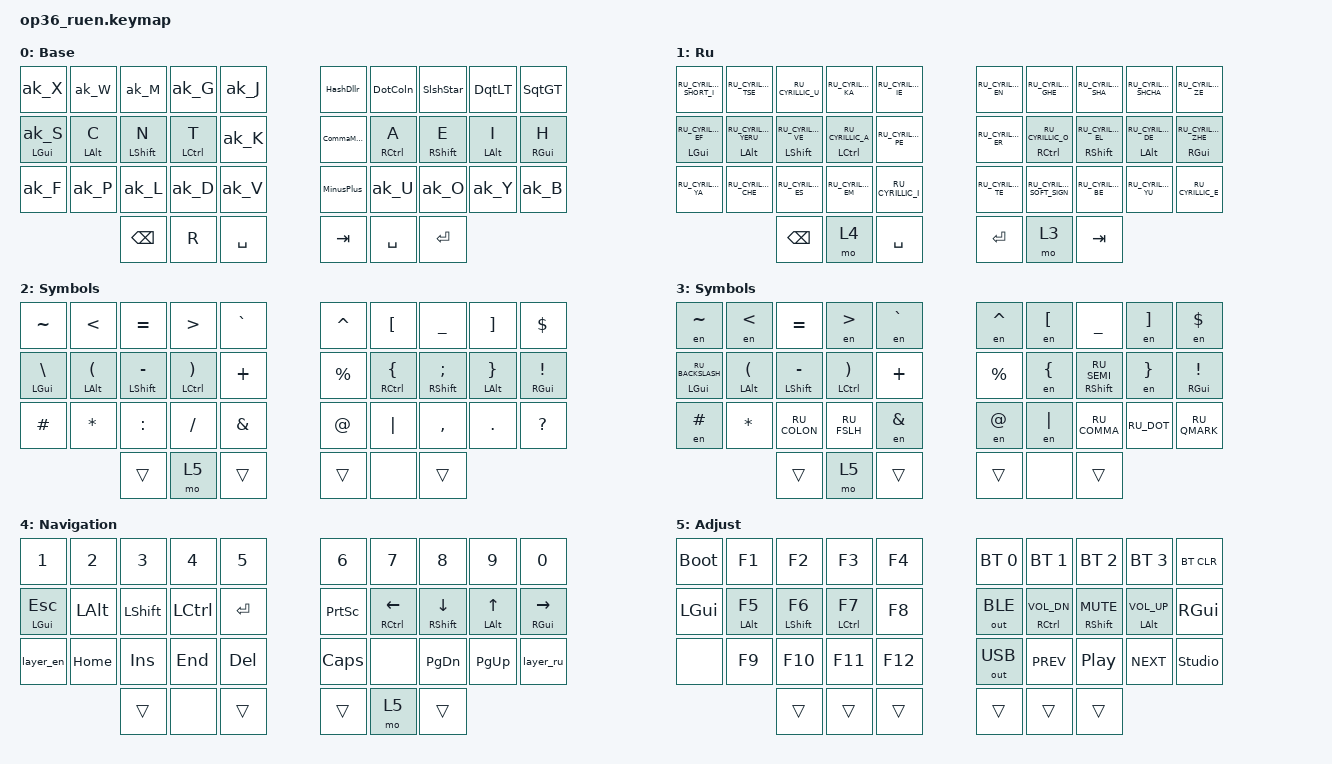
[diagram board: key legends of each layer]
#include "keys_ru.h"
#include "keys_ru.h"
#include <behaviors.dtsi>
#include <dt-bindings/zmk/bt.h>
#include <dt-bindings/zmk/keys.h>
#include <dt-bindings/zmk/outputs.h>

&mt {
    quick-tap-ms = <200>;
    flavor = "tap-preferred";
    require-prior-idle-ms = <125>;
};

/ {
    behaviors {
        /*
 * vf-adapt.h
 *
 * SPDX-License-Identifier: MIT
 *
 * AdaptiveKey behaviors
 * (send a different behavior based on prior key)
 *
 * these are dependant on the underlying alpha layout
 *
 * using urob's behavior-adaptive-key module (https://github.com/urob/zmk-adaptive-key/)
 */
 
        ak_A: ak_A {
            compatible = "zmk,behavior-adaptive-key";
            #binding-cells = <0>;
            bindings = <&kp A>;

            akA_Cap { trigger-keys = <CMMA>; max-prior-idle-ms = <my_cc_term>; bindings = <&kp BSPC &kp LS(A)>; strict-modifiers; };
        };
        ak_B: ak_B {
            compatible = "zmk,behavior-adaptive-key";
            #binding-cells = <0>;
            bindings = <&kp B>;

            akB_Cap { trigger-keys = <CMMA>; max-prior-idle-ms = <my_cc_term>; bindings = <&kp BSPC &kp LS(B)>; strict-modifiers; };
        };
        ak_C: ak_C {
            compatible = "zmk,behavior-adaptive-key";
            #binding-cells = <0>;
            bindings = <&kp C>;

            akC_Cap { trigger-keys = <CMMA>; max-prior-idle-ms = <my_cc_term>; bindings = <&kp BSPC &kp LS(C)>; strict-modifiers; };
            akC_t_ch { trigger-keys = <T>; max-prior-idle-ms = <my_ak_term>; bindings = <&kp C &kp H>; };
        };
        ak_D: ak_D {
            compatible = "zmk,behavior-adaptive-key";
            #binding-cells = <0>;
            bindings = <&kp D>;

            akD_Cap { trigger-keys = <CMMA>; max-prior-idle-ms = <my_cc_term>; bindings = <&kp BSPC &kp LS(D)>; strict-modifiers; };
            akD_t_l { trigger-keys = <V>; max-prior-idle-ms = <my_ak_term>; bindings = <&kp L>; };
        };
        ak_E: ak_E {
            compatible = "zmk,behavior-adaptive-key";
            #binding-cells = <0>;
            bindings = <&kp E>;

            akE_Cap { trigger-keys = <CMMA>; max-prior-idle-ms = <my_cc_term>; bindings = <&kp BSPC &kp LS(E)>; strict-modifiers; };
            akE_t_u { trigger-keys = <A>; max-prior-idle-ms = <my_ak_term>; bindings = <&kp U>; };
        };
        ak_F: ak_F {
            compatible = "zmk,behavior-adaptive-key";
            #binding-cells = <0>;
            bindings = <&kp F>;

            akF_Cap { trigger-keys = <CMMA>; max-prior-idle-ms = <my_cc_term>; bindings = <&kp BSPC &kp LS(F)>; strict-modifiers; };
            akF_t_v { trigger-keys = <D>; max-prior-idle-ms = <my_ak_term>; bindings = <&kp V>; };
            akF_t_s { trigger-keys = <P>; max-prior-idle-ms = <my_ak_term>; bindings = <&kp S>; };
        };
        ak_G: ak_G {
            compatible = "zmk,behavior-adaptive-key";
            #binding-cells = <0>;
            bindings = <&kp G>;

            akG_Cap { trigger-keys = <CMMA>; max-prior-idle-ms = <my_cc_term>; bindings = <&kp BSPC &kp LS(G)>; strict-modifiers; };
            akG_t_pg { trigger-keys = <J>; max-prior-idle-ms = <my_ak_term>; bindings = <&kp P &kp G>; };
            akG_t_l  { trigger-keys = <K>; max-prior-idle-ms = <my_ak_term>; bindings = <&kp L>; };
            akG_b_gl { trigger-keys = <M>; max-prior-idle-ms = <my_ak_term>; bindings = <&kp BSPC &kp L &kp G>; };
            akG_b_lml { trigger-keys = <W>; max-prior-idle-ms = <my_ak_term>; bindings = <&kp BSPC &kp L &kp M &kp L>; };
        };
        ak_H: ak_H {
            compatible = "zmk,behavior-adaptive-key";
            #binding-cells = <0>;
            bindings = <&kp H>;

            akH_Cap { trigger-keys = <CMMA>; max-prior-idle-ms = <my_cc_term>; bindings = <&kp BSPC &kp LS(H)>; strict-modifiers; };
            akH_t_a { trigger-keys = <U>; max-prior-idle-ms = <my_ak_term>; bindings = <&kp A>; };
            akH_t_e { trigger-keys = <O>; max-prior-idle-ms = <my_ak_term>; bindings = <&kp E>; };
            akH_t_l { trigger-keys = <N>; max-prior-idle-ms = <my_ak_term>; bindings = <&kp L>; };
            akH_t_n { trigger-keys = <L M>; max-prior-idle-ms = <my_ak_term>; bindings = <&kp N>; };
            akH_t_o { trigger-keys = <E>; max-prior-idle-ms = <my_ak_term>; bindings = <&kp O>; };
            akH_t_u { trigger-keys = <A>; max-prior-idle-ms = <my_ak_term>; bindings = <&kp U>; };
            akH_t_sqt { trigger-keys = <Y>; max-prior-idle-ms = <my_ak_term>; bindings = <&kp SQT>; };
        };
        ak_I: ak_I {
            compatible = "zmk,behavior-adaptive-key";
            #binding-cells = <0>;
            bindings = <&kp I>;

            akI_Cap { trigger-keys = <CMMA>; max-prior-idle-ms = <my_cc_term>; bindings = <&kp BSPC &kp LS(I)>; strict-modifiers; };
        };
        ak_J: ak_J {
            compatible = "zmk,behavior-adaptive-key";
            #binding-cells = <0>;
            bindings = <&kp J>;

            akJ_Cap { trigger-keys = <CMMA>; max-prior-idle-ms = <my_cc_term>; bindings = <&kp BSPC &kp LS(J)>; strict-modifiers; };
            akJ_t_gen { trigger-keys = <A E I O U Y B H>; max-prior-idle-ms = <my_ak_term>; bindings = <&kp SQT &kp S>; };
            akJ_t_th { trigger-keys = <G>; max-prior-idle-ms = <my_ak_term>; bindings = <&kp T &kp H>; };
            akJ_t_l { trigger-keys = <M W>; max-prior-idle-ms = <my_ak_term>; bindings = <&kp L>; };
        };
        ak_K: ak_K {
            compatible = "zmk,behavior-adaptive-key";
            #binding-cells = <0>;
            bindings = <&kp K>;

            akK_Cap { trigger-keys = <CMMA>; max-prior-idle-ms = <my_cc_term>; bindings = <&kp BSPC &kp LS(K)>; strict-modifiers; };
            akK_b_lk { trigger-keys = <D G>; max-prior-idle-ms = <my_ak_term>; bindings = <&kp BSPC &kp L &kp K>; };
            akK_b_ck { trigger-keys = <T>; max-prior-idle-ms = <my_ak_term>; bindings = <&kp BSPC &kp C &kp K>; };
        };
        ak_L: ak_L {
            compatible = "zmk,behavior-adaptive-key";
            #binding-cells = <0>;
            bindings = <&kp L>;

            akL_Cap { trigger-keys = <CMMA>; max-prior-idle-ms = <my_cc_term>; bindings = <&kp BSPC &kp LS(L)>; strict-modifiers; };
            akW_t_p { trigger-keys = <P>; max-prior-idle-ms = <my_ak_term>; bindings = <&sl_L>; };
        };
        ak_M: ak_M {
            compatible = "zmk,behavior-adaptive-key";
            #binding-cells = <0>;
            bindings = <&kp M>;

            akM_Cap { trigger-keys = <CMMA>; max-prior-idle-ms = <my_cc_term>; bindings = <&kp BSPC &kp LS(M)>; strict-modifiers; };
            akM_t_l { trigger-keys = <G P X>; max-prior-idle-ms = <my_ak_term>; bindings = <&kp L>; };
            akM_b_l { trigger-keys = <W>; max-prior-idle-ms = <my_ak_term>; bindings = <&kp BSPC &kp L &sl_M>; };
        };
        ak_N: ak_N {
            compatible = "zmk,behavior-adaptive-key";
            #binding-cells = <0>;
            bindings = <&kp N>;

            akN_Cap { trigger-keys = <CMMA>; max-prior-idle-ms = <my_cc_term>; bindings = <&kp BSPC &kp LS(N)>; strict-modifiers; };
            akN_t_ion { trigger-keys = <T>; max-prior-idle-ms = <my_ak_term>; bindings = <&kp I &kp O &kp N>; };
        };
        ak_O: ak_O {
            compatible = "zmk,behavior-adaptive-key";
            #binding-cells = <0>;
            bindings = <&kp O>;

            akO_Cap { trigger-keys = <CMMA>; max-prior-idle-ms = <my_cc_term>; bindings = <&kp BSPC &kp LS(O)>; strict-modifiers; };
        };
        ak_P: ak_P {
            compatible = "zmk,behavior-adaptive-key";
            #binding-cells = <0>;
            bindings = <&kp P>;

            akP_Cap { trigger-keys = <CMMA>; max-prior-idle-ms = <my_cc_term>; bindings = <&kp BSPC &kp LS(P)>; strict-modifiers; };
            akP_t_g { trigger-keys = <D>; max-prior-idle-ms = <my_ak_term>; bindings = <&kp G>; };
            akP_b_sp { trigger-keys = <F>; max-prior-idle-ms = <my_ak_term>; bindings = <&kp BSPC &kp S &kp P>; };
        };
        ak_Q: ak_Q {
            compatible = "zmk,behavior-adaptive-key";
            #binding-cells = <0>;
            bindings = <&kp Q>;

            akQ_Cap { trigger-keys = <CMMA>; max-prior-idle-ms = <my_cc_term>; bindings = <&kp BSPC &kp LS(Q)>; strict-modifiers; };
        };
        ak_R: ak_R {
            compatible = "zmk,behavior-adaptive-key";
            #binding-cells = <0>;
            bindings = <&kp R>;

            akR_Cap { trigger-keys = <CMMA>; max-prior-idle-ms = <my_cc_term>; bindings = <&kp BSPC &kp LS(R)>; strict-modifiers; };
            akR_t_l { trigger-keys = <L>; max-prior-idle-ms = <my_ak_term>; bindings = <&kp L>; };
        };
        ak_S: ak_S {
            compatible = "zmk,behavior-adaptive-key";
            #binding-cells = <0>;
            bindings = <&kp S>;

            akS_Cap { trigger-keys = <CMMA>; max-prior-idle-ms = <my_cc_term>; bindings = <&kp BSPC &kp LS(S)>; strict-modifiers; };
        };
        ak_T: ak_T {
            compatible = "zmk,behavior-adaptive-key";
            #binding-cells = <0>;
            bindings = <&kp T>;

            akT_Cap { trigger-keys = <CMMA>; max-prior-idle-ms = <my_cc_term>; bindings = <&kp BSPC &kp LS(T)>; strict-modifiers; };
            akT_n  { trigger-keys = <K>; max-prior-idle-ms = <my_ak_term>; bindings = <&kp N>; };
        };
        ak_U: ak_U {
            compatible = "zmk,behavior-adaptive-key";
            #binding-cells = <0>;
            bindings = <&kp U>;

            akU_Cap { trigger-keys = <CMMA>; max-prior-idle-ms = <my_cc_term>; bindings = <&kp BSPC &kp LS(U)>; strict-modifiers; };
        };
        ak_V: ak_V {
            compatible = "zmk,behavior-adaptive-key";
            #binding-cells = <0>;
            bindings = <&kp V>;

            akV_Cap { trigger-keys = <CMMA>; max-prior-idle-ms = <my_cc_term>; bindings = <&kp BSPC &kp LS(V)>; strict-modifiers; };
            akV_b_lv { trigger-keys = <T>; max-prior-idle-ms = <my_ak_term>; bindings = <&kp BSPC &kp L &kp V>; };
        };
        ak_W: ak_W {
            compatible = "zmk,behavior-adaptive-key";
            #binding-cells = <0>;
            bindings = <&kp W>;

            akW_Cap { trigger-keys = <CMMA>; max-prior-idle-ms = <my_cc_term>; bindings = <&kp BSPC &kp LS(W)>; strict-modifiers; };
            akW_t_p { trigger-keys = <M X>; max-prior-idle-ms = <my_ak_term>; bindings = <&sl_P>; };
        };
        ak_X: ak_X {
            compatible = "zmk,behavior-adaptive-key";
            #binding-cells = <0>;
            bindings = <&kp X>;

            akX_Cap { trigger-keys = <CMMA>; max-prior-idle-ms = <my_cc_term>; bindings = <&kp BSPC &kp LS(X)>; strict-modifiers; };
            akX_t_j { trigger-keys = <D>; max-prior-idle-ms = <my_ak_term>; bindings = <&kp J>; };
            akX_t_t { trigger-keys = <G>; max-prior-idle-ms = <my_ak_term>; bindings = <&kp T>; };
            akX_t_l { trigger-keys = <M>; max-prior-idle-ms = <my_ak_term>; bindings = <&kp L>; };
            akX_t_s { trigger-keys = <W>; max-prior-idle-ms = <my_ak_term>; bindings = <&kp S>; };
        };
        ak_Y: ak_Y {
            compatible = "zmk,behavior-adaptive-key";
            #binding-cells = <0>;
            bindings = <&kp Y>;

            akY_Cap { trigger-keys = <CMMA>; max-prior-idle-ms = <my_cc_term>; bindings = <&kp BSPC &kp LS(Y)>; strict-modifiers; };
        };
        ak_Z: ak_Z {
            compatible = "zmk,behavior-adaptive-key";
            #binding-cells = <0>;
            bindings = <&kp Z>;

            akZ_Cap { trigger-keys = <CMMA>; max-prior-idle-ms = <my_cc_term>; bindings = <&kp BSPC &kp LS(Z)>; strict-modifiers; };
        };

        hml: home_row_mod_left {
            compatible = "zmk,behavior-hold-tap";
            #binding-cells = <2>;
            flavor = "balanced";
            require-prior-idle-ms = <150>;
            tapping-term-ms = <280>;
            quick-tap-ms = <175>;
            bindings = <&kp>, <&kp>;

            hold-trigger-key-positions = <5 6 7 8 9 15 16 17 18 19 25 26 27 28 29 33 34 35>;
            hold-trigger-on-release;
        };

        hmr: home_row_mod_right {
            compatible = "zmk,behavior-hold-tap";
            #binding-cells = <2>;
            flavor = "balanced";
            require-prior-idle-ms = <150>;
            tapping-term-ms = <280>;
            quick-tap-ms = <175>;
            bindings = <&kp>, <&kp>;

            hold-trigger-key-positions = <0 1 2 3 4 10 11 12 13 14 20 21 22 23 24 30 31 32>;
            hold-trigger-on-release;
        };


        mt_S: mod_tap_ak_S {
            compatible = "zmk,behavior-hold-tap";
            #binding-cells = <2>;
            flavor = "hold-preferred";
            tapping-term-ms = <200>;
            bindings = <&kp>, <&ak_S>;
        };
        mt_C: mt_C {  
            hml;
            bindings = <&kp>, <&ak_C>;
            hold-trigger-key-positions = <KEYS_R THUMBS>; // left hand allowed
        };
        mt_N: mt_N {
            hml;
            bindings = <&kp>, <&ak_N>;
            hold-trigger-key-positions = <KEYS_R THUMBS>; // left hand allowed
        };
        mt_T: mt_T {
            hml;
            bindings = <&kp>, <&ak_T>;
            hold-trigger-key-positions = <KEYS_R THUMBS>; // left hand allowed
        };
        mt_A: mt_A {
            hmr;
            bindings = <&kp>, <&ak_A>;
            hold-trigger-key-positions = <KEYS_L THUMBS>; // right hand allowed
       };
        mt_E: mt_E {
            hmr;
            bindings = <&kp>, <&ak_E>;
            hold-trigger-key-positions = <KEYS_L THUMBS>; // right hand allowed
        };
        mt_I: mt_I {
            hmr;
            bindings = <&kp>, <&ak_I>;
            hold-trigger-key-positions = <KEYS_L THUMBS>; // right hand allowed
        };
        mt_H: mt_H {
            hmr;
            bindings = <&kp>, <&ak_H>;
            hold-trigger-key-positions = <KEYS_L THUMBS>; // right hand allowed
        };
    };

    combos {
        compatible = "zmk,combos";

        /*
 * vf-combo.dtsi
 *
 * SPDX-License-Identifier: MIT
 *
 */


/*
 * These are all alpha combos that need to be in specific places
 * depending on the underlying alpha. Q and Z are typically
 * off the primary alpha layer, so they are required.
 * Most of the rest are very optional, and are thus conditionally
 * compiled.
 *
 */


/*                       UNIVERSAL KEY POSITION NAMES
 *          alphas & combos limited to 3x5+2 common core
 *
 * FRA   FR1 FR2 FR3 FR4 FR5                      FR6 FR7 FR8 FR9 FR0   FRB
 * NRA   NR1 NR2 NR3 NR4 NR5                      NR6 NR7 NR8 NR9 NR0   NRB
 *     ╭─────────────────────╮                  ╭─────────────────────╮
 * LT5 │ LT4 LT3 LT2 LT1 LT0 │ LTA          RTA │ RT0 RT1 RT2 RT3 RT4 │ RT5
 * LM5 │ LM4 LM3 LM2 LM1 LM0 │ LMA          RMA │ RM0 RM1 RM2 RM3 RM4 │ RM5
 * LB5 │ LB4 LB3 LB2 LB1 LB0 │ LBA LBB  RBB RBA │ RB0 RB1 RB2 RB3 RB4 │ RB5
 *     ╰────────────╮LH2 LH1 | LH0 LHA  RHA RH0 | RH1 RH2╭────────────╯
 *      LH5 LH4 LH3 ╰────────╯                  ╰────────╯ RH3 RH4 LH5
*/

//
// type a glyph (tiny board accommodation)
//

COMBO_LAYER(t_Q,     &lk_qu Q U,    LT3 LT1, l_hd)       // type Qu, linger deletes u
COMBO_LAYER(t_Z,     &ak_Z,         LM3 LM1, l_hd)       // Z is typically off map

#ifdef H_DIGRAPH_COMBOS
//
// H Digraphs macros/behaviors (defined earlier) to process
//
COMBO_LAYER(sch,    &t_Sch,         LM4 LM3 LM2, l_hd)   // Sch
COMBO_LAYER(tch,    &t_Tch,         LM4 LM3 LM1, l_hd)   // Tch
COMBO_LAYER(th,     &t_Th,          LM2 LM1, l_hd)       // Th
COMBO_LAYER(ch,     &t_Ch,          LM3 LM2, l_hd l_jp)  // Ch
COMBO_LAYER(wh,     &t_Wh,          LT3 LT2, l_hd)       // Wh
COMBO_LAYER(sh,     &lk_sh H S,     LM4 LM3, l_hd l_jp)  // Sh/sion
COMBO_LAYER(gh,     &lk_gh H G,     LT2 LT1, l_hd)       // Gh/ght
COMBO_LAYER(ph,     &t_Ph,          LB3 LB1, l_hd)       // Ph
#endif

#ifdef EN_PRONOUN_COMBOS

/* Pronoun combos macros (define paired macros in moutis_config.dtsi) */

COMBO_LAYER(pnI,        &t_PnI,     RM3 RM4, l_hd)  // "I "
COMBO_LAYER(pnIm,       &t_PnIm,    RM3 LT2, l_hd)  // "I'm "
COMBO_LAYER(pnIll,      &t_PnIll,   RM3 LB2, l_hd)  // "I'll "
COMBO_LAYER(pnId,       &t_PnId,    RM3 LB1, l_hd)  // "I'd "
COMBO_LAYER(pnIve,      &t_PnIve,   RM3 LB0, l_hd)  // "I've "

COMBO_LAYER(pnYou,      &t_Pnyou,   RB1 RB2  RB3, l_hd) // “You”
COMBO_LAYER(pnYoure,    &t_PnYoure, RB3 LB4, l_hd)  // "You're "
COMBO_LAYER(pnYour,     &t_PnYour,  RB3 LB3, l_hd)  // "Your "
COMBO_LAYER(pnYoull,    &t_PnYoull, RB3 LB2, l_hd)  // "You'll "
COMBO_LAYER(pnYoud,     &t_PnYoud,  RB3 LB1, l_hd)  // "You'd "
COMBO_LAYER(pnYouve,    &t_PnYouve, RB3 LB0, l_hd)  // "You've "

COMBO_LAYER(pnWere,     &t_PnWere,  LT4 RT4, l_hd)  // "We're "
COMBO_LAYER(pnWell,     &t_PnWell,  LT4 LT2, l_hd)  // "We'll "
COMBO_LAYER(pnWed,      &t_PnWed,   LT4 LT1, l_hd)  // "We'd "
COMBO_LAYER(pnWeve,     &t_PnWeve,  LT4 LT0, l_hd)  // "We've "

COMBO_LAYER(pnWhere,    &t_PnWhere, LT4 LH1, l_hd)  // "Where "

#endif // EN_PRONOUN_COMBOS

#ifdef JP_MODE_ENABLE      // JP layer combos, etc.
COMBO_LAYER(jp_t_Q,     &kp Q,      LT3 LT1, l_jp)  // type Q
COMBO_LAYER(jp_t_Z,     &kp Z,      LM3 LM1, l_jp)  // type Z

COMBO_LAYER(jp_t_wo,    &t_wo,      LT3 LT2, l_jp)  // を
COMBO_LAYER(jp_t_shi,   &t_watashi, RM3 RM4, l_jp)  // わたし

#ifdef JP_YOUON_COMBOS     // Major Japanese contracted sounds as combos

COMBO_LAYER(jp_t_kya,   &t_kya,     LM0 RM1, l_jp)  // kya
COMBO_LAYER(jp_t_kyu,   &t_kyu,     LM0 RB1, l_jp)  // kyu
COMBO_LAYER(jp_t_kyo,   &t_kyo,     LM0 RB2, l_jp)  // kyo
COMBO_LAYER(jp_t_gya,   &t_gya,     LT1 RM1, l_jp)  // gya
COMBO_LAYER(jp_t_gyu,   &t_gyu,     LT1 RB1, l_jp)  // gyu
COMBO_LAYER(jp_t_gyo,   &t_gyo,     LT1 RB2, l_jp)  // gyo

COMBO_LAYER(jp_t_sya,   &t_sya,     LM4 RM1, l_jp)  // sya
COMBO_LAYER(jp_t_syu,   &t_syu,     LM4 RB1, l_jp)  // syu
COMBO_LAYER(jp_t_sye,   &t_sye,     LM4 RM2, l_jp)  // sye
COMBO_LAYER(jp_t_syo,   &t_syo,     LM4 RB2, l_jp)  // syo
COMBO_LAYER(jp_t_jya,   &t_jya,     LM3 RM1, l_jp)  // jya (C=Z in Japanese mode)
COMBO_LAYER(jp_t_jyu,   &t_jyu,     LM3 RB1, l_jp)  // jyu
COMBO_LAYER(jp_t_jye,   &t_jye,     LM3 RM2, l_jp)  // jye
COMBO_LAYER(jp_t_jyo,   &t_jyo,     LM3 RB2, l_jp)  // jyo

COMBO_LAYER(jp_t_tya,   &t_tya,     LM1 RM1, l_jp)  // tya
COMBO_LAYER(jp_t_tyi,   &t_tyi,     LM1 RM3, l_jp)  // tyi
COMBO_LAYER(jp_t_tyu,   &t_tyu,     LM1 RB1, l_jp)  // tyu
COMBO_LAYER(jp_t_tyo,   &t_tyo,     LM1 RB2, l_jp)  // tyo
COMBO_LAYER(jp_t_dya,   &t_dya,     LB1 RM1, l_jp)  // dya
COMBO_LAYER(jp_t_dyi,   &t_dyi,     LB1 RM3, l_jp)  // dyi
COMBO_LAYER(jp_t_dyu,   &t_dyu,     LB1 RB1, l_jp)  // dyu
COMBO_LAYER(jp_t_dyo,   &t_dyo,     LB1 RB2, l_jp)  // dyo

COMBO_LAYER(jp_t_nya,   &t_nya,     LM2 RM1, l_jp)  // nya
COMBO_LAYER(jp_t_nyu,   &t_nyu,     LM2 RB1, l_jp)  // nyu
COMBO_LAYER(jp_t_nyo,   &t_nyo,     LM2 RB2, l_jp)  // nyo

COMBO_LAYER(jp_t_hya,   &t_hya,     RM4 RM1, l_jp)  // hya
COMBO_LAYER(jp_t_hyu,   &t_hyu,     RM4 RB1, l_jp)  // hyu
COMBO_LAYER(jp_t_hyo,   &t_hyo,     RM4 RB2, l_jp)  // hyo
COMBO_LAYER(jp_t_bya,   &t_bya,     RB4 RM1, l_jp)  // bya
COMBO_LAYER(jp_t_byu,   &t_byu,     RB4 RB1, l_jp)  // byu
COMBO_LAYER(jp_t_byo,   &t_byo,     RB4 RB2, l_jp)  // byo
COMBO_LAYER(jp_t_pya,   &t_pya,     LB3 RM1, l_jp)  // pya
COMBO_LAYER(jp_t_pyu,   &t_pyu,     LB3 RB1, l_jp)  // pyu
COMBO_LAYER(jp_t_pyo,   &t_pyo,     LB3 RB2, l_jp)  // pyo

COMBO_LAYER(jp_t_mya,   &t_mya,     LT2 RM1, l_jp)  // mya
COMBO_LAYER(jp_t_myu,   &t_myu,     LT2 RB1, l_jp)  // myu
COMBO_LAYER(jp_t_myo,   &t_myo,     LT2 RB2, l_jp)  // myo

COMBO_LAYER(jp_t_rya,   &t_rya,     LH1 RM1, l_jp)  // rya
COMBO_LAYER(jp_t_ryu,   &t_ryu,     LH1 RB1, l_jp)  // ryu
COMBO_LAYER(jp_t_ryo,   &t_ryo,     LH1 RB2, l_jp)  // ryo

#endif //  JP_YOUON_COMBOS     // Major Japanese contracted sounds as combos

#endif // JP_MODE_ENABLE      // JP layer combos, etc.


        kha {
            bindings = <&kp RU_CYRILLIC_HA>;
            key-positions = <6 7>;
            layers = <1>;
        };

        hrdsgn {
            bindings = <&kp RU_CYRILLIC_HARD_SIGN>;
            key-positions = <7 8>;
            layers = <1>;
        };

        cmben {
            bindings = <&layer_en>;
            key-positions = <2 3>;
            layers = <1>;
        };

        cmbru {
            bindings = <&layer_ru>;
            key-positions = <2 3>;
            layers = <0>;
        };
    };

    macros {
        to_ru: to_ru {
            compatible = "zmk,behavior-macro";
            #binding-cells = <0>;
            bindings = <&kp LS(LC(N2))>;
            label = "TO_RU";
            wait-ms = <0>;
            tap-ms = <30>;
        };

        to_en: to_en {
            compatible = "zmk,behavior-macro";
            #binding-cells = <0>;
            bindings = <&kp LS(LC(N1))>;
            label = "TO_EN";
            wait-ms = <0>;
            tap-ms = <30>;
        };

        layer_en: layer_en {
            compatible = "zmk,behavior-macro";
            #binding-cells = <0>;
            bindings = <&to 0 &to_en>;
            label = "LAYER_EN";
            wait-ms = <0>;
            tap-ms = <30>;
        };

        layer_ru: layer_ru {
            compatible = "zmk,behavior-macro";
            #binding-cells = <0>;
            bindings = <&to 1 &to_ru>;
            label = "LAYER_RU";
            tap-ms = <30>;
            wait-ms = <0>;
        };

        en: en {
            compatible = "zmk,behavior-macro-one-param";
            #binding-cells = <1>;
            bindings =
                <&to_en>,
                <&macro_press>,
                <&macro_param_1to1 &kp MACRO_PLACEHOLDER>,
                <&macro_pause_for_release>,
                <&macro_release>,
                <&macro_param_1to1 &kp MACRO_PLACEHOLDER>,
                <&macro_tap>,
                <&to_ru>;

            label = "EN";
            wait-ms = <0>;
            tap-ms = <30>;
        };
    };

    keymap {
        compatible = "zmk,keymap";

        /*      Base (alpha) Layer Hands Down Vibranium-vf
                            34 keys (core)
         ╭─────────────────────╮ ╭──────────────────────╮
         │  X   W   M   G   J  │ │  #$  .:  /*  "<  '>  │
         │  S   C   N   T   K  | |  ,;   A   E   I   H  │
         │  F   P   L   D   V  │ │  -+   U   O   Y   B  │
         ╰──────────╮  BSP  R  │ │  SPC RET  ╭──────────╯
                    ╰──────────╯ ╰───────────╯        

        #define HD_Layer_label "HD-Vf"
        #define HD_LT &ak_X           &ak_W           &ak_M           &ak_G           &ak_J
        #define HD_LM &mt_S LCTRL S   &mt_C LALT C    &mt_N LGUI N    &mt_T LSHFT T   &ak_K
        #define HD_LB &ak_F           &ak_P           &ak_L           &ak_D           &ak_V
        #define HD_LH                                                 &lt_BSPC l_fun BSPC   &lt_R l_nav R

        #define HD_RT &HashDllr       &DotColn        &SlshStar       &DqtLT          &SqtGT
        #define HD_RM &CommaMagic     &mt_A RSHFT A   &mt_E RGUI E    &mt_I RALT I    &mt_H RCTRL H
        #define HD_RB &MinusPlus      &ak_U           &ak_O           &ak_Y           &ak_B
        #define HD_RH &lt l_sym SPACE &lt l_nav RETURN
        */


        en {
            bindings = <
  &ak_X        &ak_W        &ak_M         &ak_G          &ak_J                          &HashDllr    &DotColn        &SlshStar      &DqtLT        &SqtGT
  &mt_S LGUI 0 &mt_C LALT C &mt_N LSHFT N &mt_T LCTRL T  &ak_K                          &CommaMagic  &mt_A RCTRL A   &mt_E RSHFT E  &mt_I LALT I  &mt_H RGUI H
  &ak_F        &ak_P        &ak_L         &ak_D          &ak_V                          &MinusPlus   &ak_U           &ak_O          &ak_Y         &ak_B
                                          &kp BACKSPACE  &kp R  &kp SPACE    &kp TAB  &kp SPACE  &kp RETURN
            >;

            display-name = "Base";
        };

        ru {
            bindings = <
  &kp RU_CYRILLIC_SHORT_I   &kp RU_CYRILLIC_TSE         &kp RU_CYRILLIC_U          &kp RU_CYRILLIC_KA        &kp RU_CYRILLIC_IE                          &kp RU_CYRILLIC_EN  &kp RU_CYRILLIC_GHE        &kp RU_CYRILLIC_SHA        &kp RU_CYRILLIC_SHCHA     &kp RU_CYRILLIC_ZE
  &hml LGUI RU_CYRILLIC_EF  &hml LALT RU_CYRILLIC_YERU  &hml LSHFT RU_CYRILLIC_VE  &hml LCTRL RU_CYRILLIC_A  &kp RU_CYRILLIC_PE                          &kp RU_CYRILLIC_ER  &hmr RCTRL RU_CYRILLIC_O   &hmr RSHFT RU_CYRILLIC_EL  &hmr LALT RU_CYRILLIC_DE  &hmr RGUI RU_CYRILLIC_ZHE
  &kp RU_CYRILLIC_YA        &kp RU_CYRILLIC_CHE         &kp RU_CYRILLIC_ES         &kp RU_CYRILLIC_EM        &kp RU_CYRILLIC_I                           &kp RU_CYRILLIC_TE  &kp RU_CYRILLIC_SOFT_SIGN  &kp RU_CYRILLIC_BE         &kp RU_CYRILLIC_YU        &kp RU_CYRILLIC_E
                                                                                   &kp BACKSPACE             &mo 4               &kp SPACE    &kp ENTER  &mo 3               &kp TAB
            >;

            display-name = "Ru";
        };

        sym_en {
            bindings = <
  &kp TILDE       &kp LT          &kp EQUAL         &kp GT           &kp GRAVE                    &kp CARET  &kp LBKT         &kp UNDER        &kp RBKT        &kp DLLR
  &hml LGUI BSLH  &hml LALT LPAR  &hml LSHFT MINUS  &hml LCTRL RPAR  &kp PLUS                     &kp PRCNT  &hmr RCTRL LBRC  &hmr RSHFT SEMI  &hmr LALT RBRC  &hmr RGUI EXCL
  &kp HASH        &kp STAR        &kp COLON         &kp FSLH         &kp AMPS                     &kp AT     &kp PIPE         &kp COMMA        &kp DOT         &kp QMARK
                                                    &trans           &mo 5      &trans    &trans  &none      &trans
            >;

            display-name = "Symbols";
        };

        sym_ru {
            bindings = <
  &en TILDE               &en LT          &kp EQUAL         &en GT           &en GRAVE                    &en CARET  &en LBKT  &kp UNDER           &en RBKT    &en DLLR
  &hml LGUI RU_BACKSLASH  &hml LALT LPAR  &hml LSHFT MINUS  &hml LCTRL RPAR  &kp PLUS                     &kp PRCNT  &en LBRC  &hmr RSHFT RU_SEMI  &en RBRC    &hmr RGUI EXCL
  &en HASH                &kp STAR        &kp RU_COLON      &kp RU_FSLH      &en AMPS                     &en AT     &en PIPE  &kp RU_COMMA        &kp RU_DOT  &kp RU_QMARK
                                                            &trans           &mo 5      &trans    &trans  &none      &trans
            >;

            display-name = "Symbols";
        };

        nav {
            bindings = <
  &kp N1         &kp N2    &kp N3     &kp N4     &kp N5                        &kp N6           &kp N7           &kp N8           &kp N9        &kp N0
  &hml LGUI ESC  &kp LALT  &kp LSHFT  &kp LCTRL  &kp ENTER                     &kp PRINTSCREEN  &hmr RCTRL LEFT  &hmr RSHFT DOWN  &hmr LALT UP  &hmr RGUI RIGHT
  &layer_en      &kp HOME  &kp INS    &kp END    &kp DELETE                    &kp CAPS         &none            &kp PG_DN        &kp PG_UP     &layer_ru
                                      &trans     &none       &trans    &trans  &mo 5            &trans
            >;

            display-name = "Navigation";
        };

        adj {
            bindings = <
  &bootloader  &kp F1        &kp F2         &kp F3         &kp F4                     &bt BT_SEL 0  &bt BT_SEL 1         &bt BT_SEL 2       &bt BT_SEL 3        &bt BT_CLR
  &kp LGUI     &hml LALT F5  &hml LSHFT F6  &hml LCTRL F7  &kp F8                     &out OUT_BLE  &hmr RCTRL C_VOL_DN  &hmr RSHFT C_MUTE  &hmr LALT C_VOL_UP  &kp RGUI
  &none        &kp F9        &kp F10        &kp F11        &kp F12                    &out OUT_USB  &kp C_PREV           &kp C_PP           &kp C_NEXT          &studio_unlock
                                            &trans         &trans   &trans    &trans  &trans        &trans
            >;

            display-name = "Adjust";
        };
    };
};
